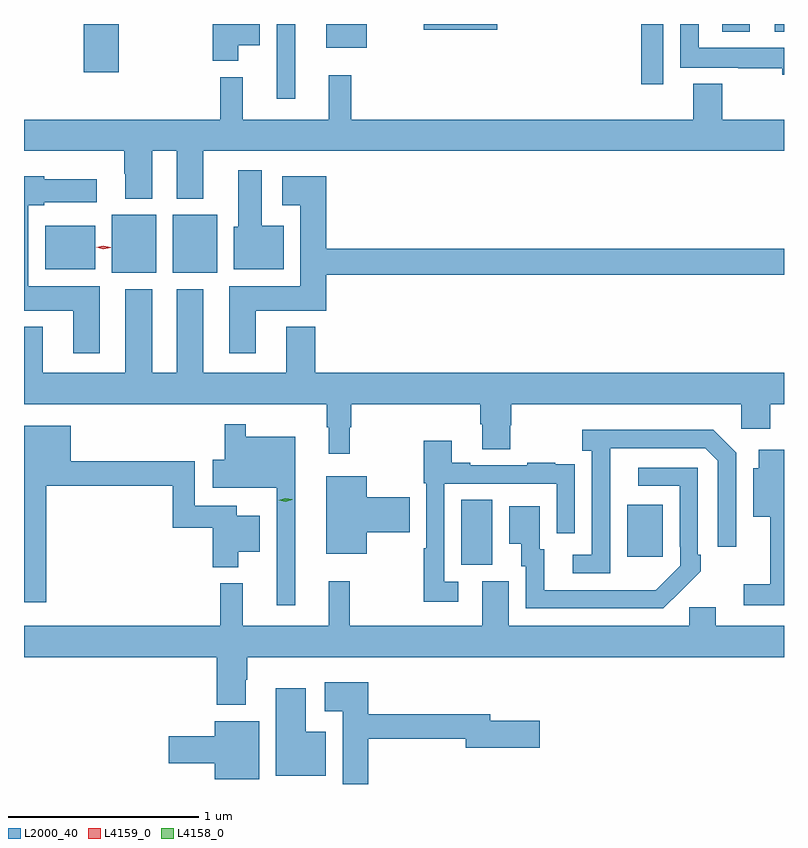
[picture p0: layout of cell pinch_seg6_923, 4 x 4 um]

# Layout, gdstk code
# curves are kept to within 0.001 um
import gdstk
lib = gdstk.Library(unit=1e-6, precision=1e-09)
def R(c, l, rs):  # rectangles x0, y0, x1, y1
    for r in rs: c.add(gdstk.rectangle(r[:2], r[2:], *l))
def P(c, l, *ps):  # polygons
    for p in ps: c.add(gdstk.Polygon(p, *l))
L2000_40 = (2000, 40)
L4158_0 = (4158, 0)
L4159_0 = (4159, 0)

pinch_seg6_923 = lib.new_cell('pinch_seg6_923')
R(pinch_seg6_923, L2000_40, [(292.97,945.157,293.134,945.5), (293.843,945.201,294.031,945.475), (291.131,946.694,291.364,946.999), (291.452,946.694,291.685,946.999), (290.78,946.712,291.043,946.942), (291.999,947.61,292.096,948.004), (293.917,947.688,294.033,948.004), (290.984,947.751,291.167,948.004), (292.259,947.879,292.474,948.004), (294.62,947.963,294.669,948.004), (294.344,947.964,294.49,948.004), (292.772,947.974,293.161,948.004)])
P(pinch_seg6_923, L2000_40, [(291.796,947.891),(291.91,947.891),(291.91,948.004),(291.662,948.004),(291.662,947.81),(291.796,947.81)],
  [(294.669,947.878),(294.219,947.878),(294.219,948.004),(294.123,948.004),(294.123,947.774),(294.427,947.774),(294.427,947.772),(294.659,947.772),(294.659,947.738),(294.669,947.738)],
  [(290.669,947.336),(291.196,947.336),(291.196,947.216),(291.203,947.216),(291.203,947.084),(291.343,947.084),(291.343,947.336),(291.473,947.336),(291.473,947.084),(291.613,947.084),(291.613,947.336),(294.669,947.336),(294.669,947.5),(294.344,947.5),(294.344,947.689),(294.191,947.689),(294.191,947.5),(292.391,947.5),(292.391,947.734),(292.274,947.734),(292.274,947.5),(291.821,947.5),(291.821,947.725),(291.703,947.725),(291.703,947.5),(290.669,947.5)],
  [(292.036,946.942),(291.919,946.942),(291.919,947.233),(291.797,947.233),(291.797,946.938),(291.773,946.938),(291.773,946.712),(292.036,946.712)],
  [(291.067,946.624),(290.692,946.624),(290.692,947.051),(290.775,947.051),(290.775,947.066),(291.052,947.066),(291.052,947.188),(290.775,947.188),(290.775,947.203),(290.669,947.203),(290.669,946.496),(290.927,946.496),(290.927,946.272),(291.067,946.272)],
  [(291.889,946.496),(292.259,946.496),(292.259,946.684),(294.669,946.684),(294.669,946.82),(292.259,946.82),(292.259,947.203),(292.029,947.203),(292.029,947.051),(292.124,947.051),(292.124,946.624),(291.749,946.624),(291.749,946.272),(291.889,946.272)],
  [(292.384,945.881),(292.391,945.881),(292.391,946.004),(293.069,946.004),(293.069,945.898),(293.081,945.898),(293.081,945.766),(293.229,945.766),(293.229,945.891),(293.234,945.891),(293.234,946.004),(294.444,946.004),(294.444,945.873),(294.596,945.873),(294.596,946.004),(294.669,946.004),(294.669,946.168),(292.202,946.168),(292.202,946.411),(292.049,946.411),(292.049,946.168),(291.613,946.168),(291.613,946.609),(291.473,946.609),(291.473,946.168),(291.343,946.168),(291.343,946.609),(291.203,946.609),(291.203,946.168),(290.767,946.168),(290.767,946.411),(290.669,946.411),(290.669,946.004),(292.263,946.004),(292.263,945.881),(292.274,945.881),(292.274,945.741),(292.384,945.741)],
  [(292.096,945.832),(291.835,945.832),(291.835,945.898),(291.725,945.898),(291.725,945.711),(291.662,945.711),(291.662,945.563),(291.999,945.563),(291.999,944.946),(292.096,944.946)],
  [(290.785,945.574),(291.451,945.574),(291.451,945.352),(291.662,945.352),(291.662,945.146),(291.796,945.146),(291.796,945.227),(291.91,945.227),(291.91,945.415),(291.79,945.415),(291.79,945.468),(291.567,945.468),(291.567,945.703),(290.914,945.703),(290.914,945.889),(290.669,945.889),(290.669,944.961),(290.785,944.961)],
  [(293.754,945.571),(293.755,945.771),(294.255,945.771),(294.321,945.705),(294.321,945.252),(294.417,945.252),(294.417,945.747),(294.296,945.868),(293.607,945.868),(293.607,945.758),(293.658,945.758),(293.658,945.21),(293.556,945.21),(293.556,945.114),(293.754,945.114)],
  [(292.954,945.069),(292.881,945.069),(292.881,945.585),(293.472,945.585),(293.472,945.324),(293.568,945.324),(293.568,945.578),(293.567,945.578),(293.567,945.687),(293.465,945.687),(293.465,945.694),(293.317,945.694),(293.317,945.681),(293.017,945.681),(293.017,945.694),(292.921,945.694),(292.921,945.811),(292.773,945.811),(292.773,945.588),(292.785,945.588),(292.785,945.245),(292.773,945.245),(292.773,944.964),(292.954,944.964)],
  [(294.669,945.763),(294.536,945.763),(294.536,945.667),(294.506,945.667),(294.506,945.41),(294.596,945.41),(294.596,945.055),(294.456,945.055),(294.456,944.946),(294.669,944.946)],
  [(294.125,945.019),(294.126,945.018),(294.231,945.123),(294.231,945.211),(294.216,945.211),(294.216,945.669),(293.901,945.669),(293.901,945.573),(294.12,945.573),(294.12,945.253),(294.123,945.253),(294.123,945.153),(293.995,945.025),(293.407,945.024),(293.407,945.24),(293.383,945.24),(293.383,945.466),(293.222,945.466),(293.222,945.269),(293.285,945.269),(293.285,945.15),(293.31,945.15),(293.31,944.928),(294.034,944.928)],
  [(292.474,945.329),(292.699,945.329),(292.699,945.512),(292.474,945.512),(292.474,945.625),(292.259,945.625),(292.259,945.215),(292.474,945.215)],
  [(291.835,944.552),(291.843,944.552),(291.843,944.672),(294.669,944.672),(294.669,944.836),(294.31,944.836),(294.31,944.934),(294.171,944.934),(294.171,944.836),(293.221,944.836),(293.221,945.072),(293.081,945.072),(293.081,944.836),(292.384,944.836),(292.384,945.07),(292.274,945.07),(292.274,944.836),(291.821,944.836),(291.821,945.061),(291.703,945.061),(291.703,944.836),(290.669,944.836),(290.669,944.672),(291.683,944.672),(291.683,944.42),(291.835,944.42)],
  [(292.481,944.242),(292.994,944.242),(292.994,944.195),(293.383,944.195),(293.383,944.337),(293.122,944.337),(293.122,944.371),(292.481,944.371),(292.481,944.539),(292.251,944.539),(292.251,944.387),(292.346,944.387),(292.346,944.004),(292.481,944.004)],
  [(292.258,944.278),(292.153,944.278),(292.153,944.509),(291.995,944.509),(291.995,944.048),(292.258,944.048)],
  [(291.907,944.335),(291.674,944.335),(291.674,944.256),(291.432,944.256),(291.432,944.114),(291.674,944.114),(291.674,944.03),(291.907,944.03)])
P(pinch_seg6_923, L4158_0, [(292.046,945.489),(292.01,945.497),(292.009,945.497),(292.01,945.497),(292.044,945.509),(292.08,945.502),(292.081,945.502),(292.08,945.501)])
P(pinch_seg6_923, L4159_0, [(291.086,946.818),(291.048,946.828),(291.047,946.828),(291.048,946.828),(291.087,946.838),(291.125,946.828),(291.126,946.828),(291.125,946.827)])

lib.write_gds('pinch_seg6_923.gds')
